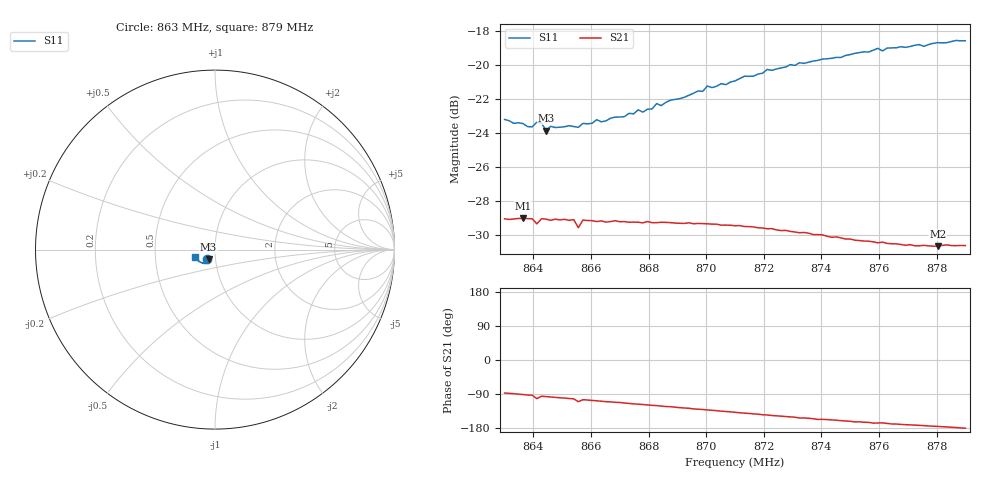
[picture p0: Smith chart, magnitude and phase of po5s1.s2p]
# HZ S RI R 50
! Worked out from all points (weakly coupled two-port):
!   101 points, 863 MHz to 879 MHz, reference 50 ohm
!   highest |S21| = -29.02 dB at 863.64 MHz (marker M1); lowest = -30.7 dB at 878.04 MHz (marker M2)
!   lowest |S11| = -23.8 dB at 864.44 MHz (marker M3), VSWR 1.14, Z = 46.3 - j4.97 ohm
!   |S11| at or under -10 dB: start of sweep to end of sweep
!   S12 and S22 are empty: the file has one direction only
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8.63e8  -0.0435 -0.0539  0.00181 -0.0353  0 0  0 0
8.6364e8  -0.0401 -0.0541  -0.000683 -0.0354  0 0  0 0
8.6396e8  -0.0389 -0.0531  -0.00181 -0.0353  0 0  0 0
8.6412e8  -0.0405 -0.0545  -0.00711 -0.0334  0 0  0 0
8.6428e8  -0.0375 -0.0563  -0.00346 -0.0352  0 0  0 0
8.6444e8  -0.0356 -0.0535  -0.00398 -0.035  0 0  0 0
8.646e8  -0.0363 -0.0552  -0.00462 -0.0346  0 0  0 0
8.654e8  -0.0334 -0.0569  -0.00765 -0.0343  0 0  0 0
8.6556e8  -0.0333 -0.0565  -0.0114 -0.0312  0 0  0 0
8.6572e8  -0.0331 -0.0587  -0.00896 -0.0338  0 0  0 0
8.6764e8  -0.0349 -0.0651  -0.0154 -0.0309  0 0  0 0
8.678e8  -0.0334 -0.0646  -0.0158 -0.0305  0 0  0 0
8.6828e8  -0.0361 -0.0681  -0.0174 -0.0297  0 0  0 0
8.6844e8  -0.0352 -0.0674  -0.0181 -0.0293  0 0  0 0
8.6988e8  -0.0409 -0.073  -0.0222 -0.0259  0 0  0 0
8.7004e8  -0.0439 -0.0749  -0.0228 -0.0254  0 0  0 0
8.71e8  -0.0487 -0.0755  -0.025 -0.0226  0 0  0 0
8.7212e8  -0.058 -0.0779  -0.0271 -0.0189  0 0  0 0
8.7372e8  -0.0701 -0.0752  -0.0287 -0.0135  0 0  0 0
8.7644e8  -0.094 -0.0615  -0.0292 -0.00579  0 0  0 0
8.7804e8  -0.1058 -0.0487  -0.0292 -0.0024  0 0  0 0
8.79e8  -0.1115 -0.0385  -0.0295 -7e-06  0 0  0 0
